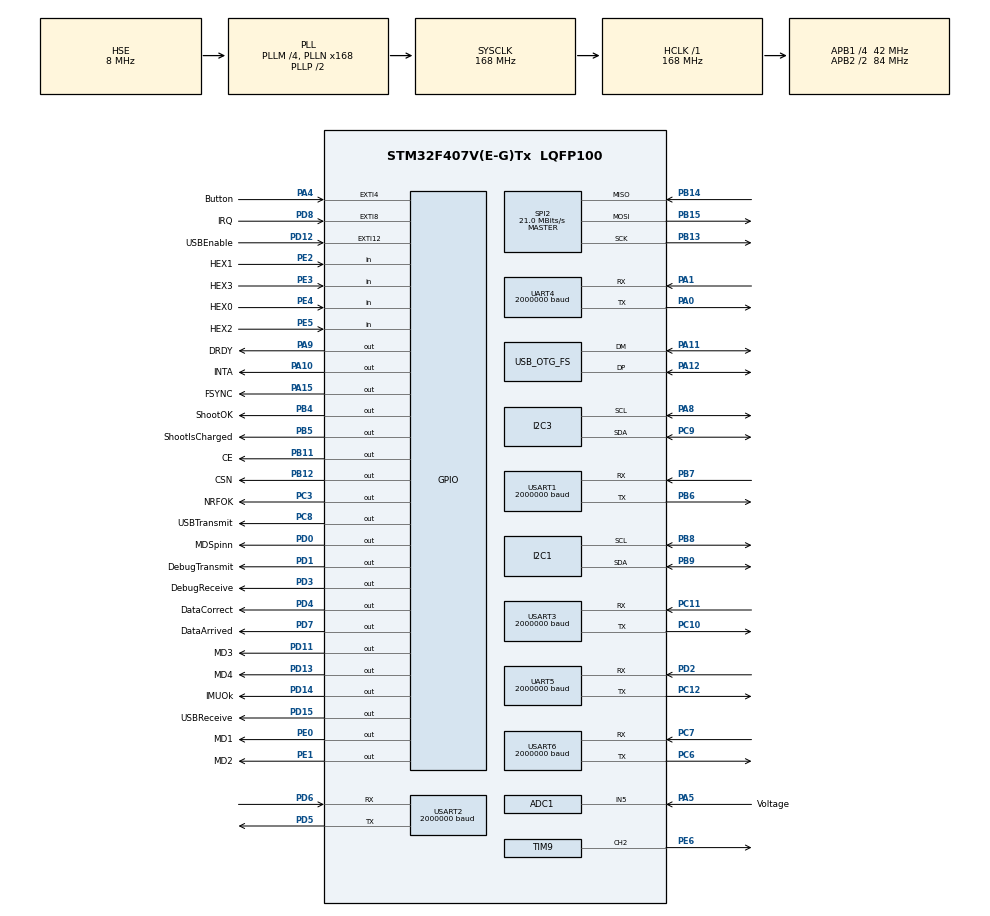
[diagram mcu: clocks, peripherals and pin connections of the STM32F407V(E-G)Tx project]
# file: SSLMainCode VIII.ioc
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ADC1.Channel-0\#ChannelRegularConversion=ADC_CHANNEL_5
ADC1.NbrOfConversionFlag=1
ADC1.Rank-0\#ChannelRegularConversion=1
ADC1.SamplingTime-0\#ChannelRegularConversion=ADC_SAMPLETIME_3CYCLES
ADC1.master=1
Mcu.Family=STM32F4
Mcu.Name=STM32F407V(E-G)Tx
Mcu.Package=LQFP100
NVIC.EXTI15_10_IRQn=true\:15\:0\:true\:false\:true\:true
NVIC.EXTI4_IRQn=true\:15\:0\:true\:false\:true\:true
NVIC.EXTI9_5_IRQn=true\:15\:0\:true\:false\:true\:true
NVIC.I2C1_EV_IRQn=true\:13\:0\:true\:false\:true\:true
NVIC.I2C3_EV_IRQn=true\:5\:0\:true\:false\:true\:true
NVIC.OTG_FS_IRQn=true\:0\:0\:false\:false\:true\:true
NVIC.PVD_IRQn=true\:15\:0\:true\:false\:true\:true
NVIC.PriorityGroup=NVIC_PRIORITYGROUP_4
NVIC.SPI2_IRQn=true\:12\:0\:true\:false\:true\:true
NVIC.TIM1_BRK_TIM9_IRQn=true\:14\:0\:true\:false\:true\:true
NVIC.TIM1_TRG_COM_TIM11_IRQn=true\:14\:0\:true\:false\:true\:true
NVIC.TIM1_UP_TIM10_IRQn=true\:14\:0\:true\:false\:true\:true
NVIC.TIM2_IRQn=true\:14\:0\:true\:false\:true\:true
NVIC.TIM3_IRQn=true\:14\:0\:true\:false\:true\:true
NVIC.TIM4_IRQn=true\:14\:0\:true\:false\:true\:true
NVIC.TIM5_IRQn=true\:14\:0\:true\:false\:true\:true
NVIC.TIM6_DAC_IRQn=true\:14\:0\:true\:false\:true\:true
NVIC.TIM7_IRQn=true\:14\:0\:true\:false\:true\:true
NVIC.TIM8_BRK_TIM12_IRQn=true\:14\:0\:true\:false\:true\:true
NVIC.TIM8_TRG_COM_TIM14_IRQn=true\:14\:0\:true\:false\:true\:true
NVIC.TIM8_UP_TIM13_IRQn=true\:14\:0\:true\:false\:true\:true
NVIC.UART4_IRQn=true\:8\:0\:true\:false\:true\:true
NVIC.UART5_IRQn=true\:7\:0\:true\:false\:true\:true
NVIC.USART1_IRQn=true\:11\:0\:true\:false\:true\:true
NVIC.USART2_IRQn=true\:10\:0\:true\:false\:true\:true
NVIC.USART3_IRQn=true\:9\:0\:true\:false\:true\:true
NVIC.USART6_IRQn=true\:6\:0\:true\:false\:true\:true
PA0-WKUP.Mode=Asynchronous
PA0-WKUP.Signal=UART4_TX
PA1.Mode=Asynchronous
PA1.Signal=UART4_RX
PA10.GPIO_Label=INTA
PA10.GPIO_Speed=GPIO_SPEED_FREQ_VERY_HIGH
PA10.Signal=GPIO_Output
PA11.Mode=Device_Only
PA11.Signal=USB_OTG_FS_DM
PA12.Mode=Device_Only
PA12.Signal=USB_OTG_FS_DP
PA13.Mode=Trace_Asynchronous_SW
PA13.Signal=SYS_JTMS-SWDIO
PA14.Mode=Trace_Asynchronous_SW
PA14.Signal=SYS_JTCK-SWCLK
PA15.GPIO_Label=FSYNC
PA15.GPIO_Speed=GPIO_SPEED_FREQ_VERY_HIGH
PA15.Signal=GPIO_Output
PA4.GPIO_Label=Button
PA4.GPIO_ModeDefaultEXTI=GPIO_MODE_IT_FALLING
PA4.GPIO_PuPd=GPIO_PULLUP
PA4.Signal=GPXTI4
PA5.GPIO_Label=Voltage
PA5.Signal=ADCx_IN5
PA8.Mode=I2C
PA8.Signal=I2C3_SCL
PA9.GPIO_Label=DRDY
PA9.GPIO_Speed=GPIO_SPEED_FREQ_VERY_HIGH
PA9.PinState=GPIO_PIN_SET
PA9.Signal=GPIO_Output
PB11.GPIO_Label=CE
PB11.GPIO_Speed=GPIO_SPEED_FREQ_VERY_HIGH
PB11.Signal=GPIO_Output
PB12.GPIO_Label=CSN
PB12.GPIO_Speed=GPIO_SPEED_FREQ_VERY_HIGH
PB12.PinState=GPIO_PIN_SET
PB12.Signal=GPIO_Output
PB13.Mode=Full_Duplex_Master
PB13.Signal=SPI2_SCK
PB14.Mode=Full_Duplex_Master
PB14.Signal=SPI2_MISO
PB15.Mode=Full_Duplex_Master
PB15.Signal=SPI2_MOSI
PB3.Mode=Trace_Asynchronous_SW
PB3.Signal=SYS_JTDO-SWO
PB4.GPIO_Label=ShootOK
PB4.GPIO_Speed=GPIO_SPEED_FREQ_VERY_HIGH
PB4.Signal=GPIO_Output
PB5.GPIO_Label=ShootIsCharged
PB5.GPIO_Speed=GPIO_SPEED_FREQ_VERY_HIGH
PB5.Signal=GPIO_Output
PB6.Mode=Asynchronous
PB6.Signal=USART1_TX
PB7.Mode=Asynchronous
PB7.Signal=USART1_RX
PB8.Mode=I2C
PB8.Signal=I2C1_SCL
PB9.Mode=I2C
PB9.Signal=I2C1_SDA
PC10.Mode=Asynchronous
PC10.Signal=USART3_TX
PC11.Mode=Asynchronous
PC11.Signal=USART3_RX
PC12.Mode=Asynchronous
PC12.Signal=UART5_TX
PC3.GPIO_Label=NRFOK
PC3.GPIO_Speed=GPIO_SPEED_FREQ_VERY_HIGH
PC3.Signal=GPIO_Output
PC6.Mode=Asynchronous
PC6.Signal=USART6_TX
PC7.Mode=Asynchronous
PC7.Signal=USART6_RX
PC8.GPIO_Label=USBTransmit
PC8.GPIO_Speed=GPIO_SPEED_FREQ_VERY_HIGH
PC8.Signal=GPIO_Output
PC9.Mode=I2C
PC9.Signal=I2C3_SDA
PD0.GPIO_Label=MDSpinn
PD0.GPIO_Speed=GPIO_SPEED_FREQ_VERY_HIGH
PD0.Signal=GPIO_Output
PD1.GPIO_Label=DebugTransmit
PD1.GPIO_Speed=GPIO_SPEED_FREQ_VERY_HIGH
PD1.Signal=GPIO_Output
PD11.GPIO_Label=MD3
PD11.GPIO_Speed=GPIO_SPEED_FREQ_VERY_HIGH
PD11.Signal=GPIO_Output
PD12.GPIO_Label=USBEnable
PD12.GPIO_PuPd=GPIO_PULLDOWN
PD12.Signal=GPXTI12
PD13.GPIO_Label=MD4
PD13.GPIO_Speed=GPIO_SPEED_FREQ_VERY_HIGH
PD13.Signal=GPIO_Output
PD14.GPIO_Label=IMUOk
PD14.GPIO_Speed=GPIO_SPEED_FREQ_VERY_HIGH
PD14.Signal=GPIO_Output
PD15.GPIO_Label=USBReceive
PD15.GPIO_Speed=GPIO_SPEED_FREQ_VERY_HIGH
PD15.Signal=GPIO_Output
PD2.Mode=Asynchronous
PD2.Signal=UART5_RX
PD3.GPIO_Label=DebugReceive
PD3.GPIO_Speed=GPIO_SPEED_FREQ_VERY_HIGH
PD3.Signal=GPIO_Output
PD4.GPIO_Label=DataCorrect
PD4.GPIO_Speed=GPIO_SPEED_FREQ_VERY_HIGH
PD4.Signal=GPIO_Output
PD5.Mode=Asynchronous
PD5.Signal=USART2_TX
PD6.Mode=Asynchronous
PD6.Signal=USART2_RX
PD7.GPIO_Label=DataArrived
PD7.GPIO_Speed=GPIO_SPEED_FREQ_VERY_HIGH
PD7.Signal=GPIO_Output
PD8.GPIO_Label=IRQ
PD8.Signal=GPXTI8
PE0.GPIO_Label=MD1
PE0.GPIO_Speed=GPIO_SPEED_FREQ_VERY_HIGH
PE0.Signal=GPIO_Output
PE1.GPIO_Label=MD2
PE1.GPIO_Speed=GPIO_SPEED_FREQ_VERY_HIGH
PE1.Signal=GPIO_Output
PE2.GPIO_Label=HEX1
PE2.GPIO_PuPd=GPIO_PULLDOWN
PE2.Signal=GPIO_Input
PE3.GPIO_Label=HEX3
PE3.GPIO_PuPd=GPIO_PULLDOWN
PE3.Signal=GPIO_Input
PE4.GPIO_Label=HEX0
PE4.GPIO_PuPd=GPIO_PULLDOWN
PE4.Signal=GPIO_Input
PE5.GPIO_Label=HEX2
PE5.GPIO_PuPd=GPIO_PULLDOWN
PE5.Signal=GPIO_Input
PE6.Signal=S_TIM9_CH2
PH0-OSC_IN.Mode=HSE-External-Oscillator
PH0-OSC_IN.Signal=RCC_OSC_IN
PH1-OSC_OUT.Mode=HSE-External-Oscillator
PH1-OSC_OUT.Signal=RCC_OSC_OUT
ProjectManager.HeapSize=0x600
ProjectManager.StackSize=0x1200
ProjectManager.TargetToolchain=MDK-ARM V5
RCC.48MHZClocksFreq_Value=48000000
RCC.AHBFreq_Value=168000000
RCC.APB1CLKDivider=RCC_HCLK_DIV4
RCC.APB1Freq_Value=42000000
RCC.APB1TimFreq_Value=84000000
RCC.APB2CLKDivider=RCC_HCLK_DIV2
RCC.APB2Freq_Value=84000000
RCC.APB2TimFreq_Value=168000000
RCC.CortexFreq_Value=168000000
RCC.HCLKFreq_Value=168000000
RCC.HSE_VALUE=8000000
RCC.HSI_VALUE=16000000
RCC.LSE_VALUE=32768
RCC.PLLM=4
RCC.PLLN=168
RCC.PLLQ=7
RCC.SYSCLKFreq_VALUE=168000000
RCC.SYSCLKSource=RCC_SYSCLKSOURCE_PLLCLK
RCC.VCOOutputFreq_Value=336000000
SH.ADCx_IN5.0=ADC1_IN5,IN5
SH.S_TIM9_CH2.0=TIM9_CH2,PWM Generation2 CH2
SPI2.CalculateBaudRate=21.0 MBits/s
SPI2.Direction=SPI_DIRECTION_2LINES
SPI2.Mode=SPI_MODE_MASTER
SPI2.VirtualType=VM_MASTER
TIM9.Channel-PWM\ Generation2\ CH2=TIM_CHANNEL_2
UART4.BaudRate=2000000
UART4.VirtualMode=Asynchronous
UART5.BaudRate=2000000
UART5.VirtualMode=Asynchronous
USART1.BaudRate=2000000
USART1.VirtualMode=VM_ASYNC
USART2.BaudRate=2000000
USART2.VirtualMode=VM_ASYNC
USART3.BaudRate=2000000
USART3.VirtualMode=VM_ASYNC
USART6.BaudRate=2000000
USART6.VirtualMode=VM_ASYNC
USB_DEVICE.CLASS_NAME_FS=CDC
USB_DEVICE.VirtualModeFS=Cdc_FS
USB_OTG_FS.VirtualMode=Device_Only
VP_TIM10_VS_ClockSourceINT.Mode=Enable_Timer
VP_TIM11_VS_ClockSourceINT.Mode=Enable_Timer
VP_TIM12_VS_ClockSourceINT.Mode=Internal
VP_TIM13_VS_ClockSourceINT.Mode=Enable_Timer
VP_TIM14_VS_ClockSourceINT.Mode=Enable_Timer
VP_TIM1_VS_ClockSourceINT.Mode=Internal
VP_TIM2_VS_ClockSourceINT.Mode=Internal
VP_TIM3_VS_ClockSourceINT.Mode=Internal
VP_TIM4_VS_ClockSourceINT.Mode=Internal
VP_TIM5_VS_ClockSourceINT.Mode=Internal
VP_TIM6_VS_ClockSourceINT.Mode=Enable_Timer
VP_TIM7_VS_ClockSourceINT.Mode=Enable_Timer
VP_TIM8_VS_ClockSourceINT.Mode=Internal
VP_TIM9_VS_ClockSourceINT.Mode=Internal
VP_USB_DEVICE_VS_USB_DEVICE_CDC_FS.Mode=CDC_FS
board=SSLMainCode VIII

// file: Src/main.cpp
/**
  ******************************************************************************
  * File Name          : main.c
  * Description        : Main program body
  ******************************************************************************
  *
  * Copyright (c) 2017 STMicroelectronics International N.V.
  * All rights reserved.
  *
  * Redistribution and use in source and binary forms, with or without
  * modification, are permitted, provided that the following conditions are met:
  *
  * 1. Redistribution of source code must retain the above copyright notice,
  *    this list of conditions and the following disclaimer.
  * 2. Redistributions in binary form must reproduce the above copyright notice,
  *    this list of conditions and the following disclaimer in the documentation
  *    and/or other materials provided with the distribution.
  * 3. Neither the name of STMicroelectronics nor the names of other
  *    contributors to this software may be used to endorse or promote products
  *    derived from this software without specific written permission.
  * 4. This software, including modifications and/or derivative works of this
  *    software, must execute solely and exclusively on microcontroller or
  *    microprocessor devices manufactured by or for STMicroelectronics.
  * 5. Redistribution and use of this software other than as permitted under
  *    this license is void and will automatically terminate your rights under
  *    this license.
  *
  * THIS SOFTWARE IS PROVIDED BY STMICROELECTRONICS AND CONTRIBUTORS "AS IS"
  * AND ANY EXPRESS, IMPLIED OR STATUTORY WARRANTIES, INCLUDING, BUT NOT
  * LIMITED TO, THE IMPLIED WARRANTIES OF MERCHANTABILITY, FITNESS FOR A
  * PARTICULAR PURPOSE AND NON-INFRINGEMENT OF THIRD PARTY INTELLECTUAL PROPERTY
  * RIGHTS ARE DISCLAIMED TO THE FULLEST EXTENT PERMITTED BY LAW. IN NO EVENT
  * SHALL STMICROELECTRONICS OR CONTRIBUTORS BE LIABLE FOR ANY DIRECT, INDIRECT,
  * INCIDENTAL, SPECIAL, EXEMPLARY, OR CONSEQUENTIAL DAMAGES (INCLUDING, BUT NOT
  * LIMITED TO, PROCUREMENT OF SUBSTITUTE GOODS OR SERVICES; LOSS OF USE, DATA,
  * OR PROFITS; OR BUSINESS INTERRUPTION) HOWEVER CAUSED AND ON ANY THEORY OF
  * LIABILITY, WHETHER IN CONTRACT, STRICT LIABILITY, OR TORT (INCLUDING
  * NEGLIGENCE OR OTHERWISE) ARISING IN ANY WAY OUT OF THE USE OF THIS SOFTWARE,
  * EVEN IF ADVISED OF THE POSSIBILITY OF SUCH DAMAGE.
  *
  ******************************************************************************
  */
#include "main.h"
#include "stm32f4xx_hal.h"
#include "adc.h"
#include "i2c.h"
#include "spi.h"
#include "tim.h"
#include "usart.h"
#include "usb_device.h"
#include "gpio.h"

/* USER CODE BEGIN Includes */
#include "USB.hpp"
#include "Power.hpp"
#include "settings.hpp"
#include "wireless.hpp"
#include "Time.hpp"
#include "debugger.hpp"
#include "memory.hpp"
#include "Motor.hpp"
#include "DebugPCB.hpp"
#include "IMU.hpp"
#include "Logger.hpp"
#include "Controller.hpp"
/* USER CODE END Includes */

/* USER CODE BEGIN PV */
/* Private variables ---------------------------------------------------------*/
unsigned char buf[4];
/* USER CODE END PV */

void SystemClock_Config(void);
void Error_Handler(void);

/* USER CODE BEGIN PFP */
/* Private function prototypes -----------------------------------------------*/
void HAL_GPIO_EXTI_Callback(unsigned short int pin)
{
	if (HAL_GPIO_ReadPin(USBEnable_GPIO_Port,USBEnable_Pin) == GPIO_PIN_SET)
		USB.Init();
	if (HAL_GPIO_ReadPin(IRQ_GPIO_Port,IRQ_Pin) == GPIO_PIN_RESET)
		wireless.NRF_Data_Arrived();
}
void HAL_TIM_PeriodElapsedCallback(TIM_HandleTypeDef* htim)
{
	time.Time_Passed(htim);
}
void HAL_UART_TxCpltCallback(UART_HandleTypeDef* huart)
{
	motorsNetwork.Transmit_Ended(huart);
}
void HAL_UART_RxCpltCallback(UART_HandleTypeDef* huart)
{
	motorsNetwork.Receive_Ended(huart);
}
void HAL_I2C_SlaveRxCpltCallback(I2C_HandleTypeDef* hi2c)
{
	debugPCB.Receive_Ended(hi2c);
}
void HAL_I2C_SlaveTxCpltCallback(I2C_HandleTypeDef* hi2c)
{
	debugPCB.Transmit_Ended(hi2c);
}
void HAL_I2C_MemRxCpltCallback(I2C_HandleTypeDef* hi2c)
{
	imu.Read_Finished(hi2c);
}
/* USER CODE END PFP */

int main(void)
{

  /* MCU Configuration----------------------------------------------------------*/

  /* Reset of all peripherals, Initializes the Flash interface and the Systick. */
  HAL_Init();

  /* Configure the system clock */
  SystemClock_Config();

  /* Initialize all configured peripherals */
  MX_GPIO_Init();
  MX_ADC1_Init();
  MX_I2C1_Init();
  MX_I2C3_Init();
  MX_SPI2_Init();
  MX_TIM1_Init();
  MX_TIM2_Init();
  MX_TIM3_Init();
  MX_TIM4_Init();
  MX_TIM5_Init();
  MX_TIM6_Init();
  MX_TIM7_Init();
  MX_TIM8_Init();
  MX_TIM9_Init();
  MX_TIM10_Init();
  MX_TIM11_Init();
  MX_TIM12_Init();
  MX_TIM13_Init();
  MX_TIM14_Init();
  MX_UART4_Init();
  MX_UART5_Init();
  MX_USART1_UART_Init();
  MX_USART2_UART_Init();
  MX_USART3_UART_Init();
  MX_USART6_UART_Init();

  /* USER CODE BEGIN 2 */
	debugger.Init();
	time.Init(&htim13,&htim14);
	power.Init(&hadc1);
	memory.Init();
	motorsNetwork.Init(&huart6,&huart3,&huart2,&huart1,&huart4);
	debugPCB.Init(&hi2c3);
	imu.Init(&hi2c1);
	memory.cst = 2000;
	wireless.Init(&hspi2);
	logger.Log((char*)"Ready");
	/* USER CODE END 2 */

  /* Infinite loop */
  /* USER CODE BEGIN WHILE */
	signed short int i = 0;
	signed short int step = 10;
  while (1)
  {
		imu.Calculate();
		debugger.Print("Vx = %f , VVx = %f , dVx = %f , offsetx = %f , time = %f\r\n",imu.Get_X_Velocity(),memory.visionData.VX, imu.Get_X_Velocity() - memory.visionData.VX,imu.xOffset,time.Get_Time());
		controller.Control();

		motors.frontLeft.Set_RPM(i);
		motors.frontRight.Set_RPM(i);
		motors.rearLeft.Set_RPM(i);
		motors.rearRight.Set_RPM(i);
		HAL_Delay(100);
		i += step;
		if (i > 1400 || i < -1400)
			step *= -1;
		//debugger.Print("sRPM = %d	RPM = %d \r\n",i,motors.rearRight.Get_RPM());
  /* USER CODE END WHILE */

  }

}

/** System Clock Configuration
*/
void SystemClock_Config(void)
{

  RCC_OscInitTypeDef RCC_OscInitStruct;
  RCC_ClkInitTypeDef RCC_ClkInitStruct;

    /**Configure the main internal regulator output voltage
    */
  __HAL_RCC_PWR_CLK_ENABLE();

  __HAL_PWR_VOLTAGESCALING_CONFIG(PWR_REGULATOR_VOLTAGE_SCALE1);

    /**Initializes the CPU, AHB and APB busses clocks
    */
  RCC_OscInitStruct.OscillatorType = RCC_OSCILLATORTYPE_HSE;
  RCC_OscInitStruct.HSEState = RCC_HSE_ON;
  RCC_OscInitStruct.PLL.PLLState = RCC_PLL_ON;
  RCC_OscInitStruct.PLL.PLLSource = RCC_PLLSOURCE_HSE;
  RCC_OscInitStruct.PLL.PLLM = 4;
  RCC_OscInitStruct.PLL.PLLN = 168;
  RCC_OscInitStruct.PLL.PLLP = RCC_PLLP_DIV2;
  RCC_OscInitStruct.PLL.PLLQ = 7;
  if (HAL_RCC_OscConfig(&RCC_OscInitStruct) != HAL_OK)
  {
    Error_Handler();
  }

    /**Initializes the CPU, AHB and APB busses clocks
    */
  RCC_ClkInitStruct.ClockType = RCC_CLOCKTYPE_HCLK|RCC_CLOCKTYPE_SYSCLK
                              |RCC_CLOCKTYPE_PCLK1|RCC_CLOCKTYPE_PCLK2;
  RCC_ClkInitStruct.SYSCLKSource = RCC_SYSCLKSOURCE_PLLCLK;
  RCC_ClkInitStruct.AHBCLKDivider = RCC_SYSCLK_DIV1;
  RCC_ClkInitStruct.APB1CLKDivider = RCC_HCLK_DIV4;
  RCC_ClkInitStruct.APB2CLKDivider = RCC_HCLK_DIV2;

  if (HAL_RCC_ClockConfig(&RCC_ClkInitStruct, FLASH_LATENCY_5) != HAL_OK)
  {
    Error_Handler();
  }

    /**Configure the Systick interrupt time
    */
  HAL_SYSTICK_Config(HAL_RCC_GetHCLKFreq()/1000);

    /**Configure the Systick
    */
  HAL_SYSTICK_CLKSourceConfig(SYSTICK_CLKSOURCE_HCLK);

  /* SysTick_IRQn interrupt configuration */
  HAL_NVIC_SetPriority(SysTick_IRQn, 0, 0);
}

void Error_Handler(void)
{
  while(1)
  {
  }
}

/************************ (C) COPYRIGHT STMicroelectronics *****END OF FILE****/
